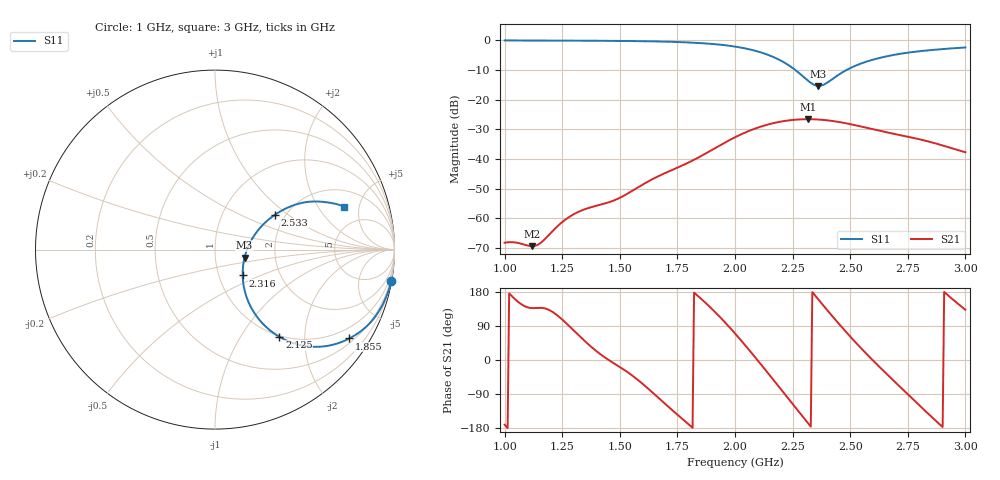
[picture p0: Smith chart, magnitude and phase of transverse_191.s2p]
! TOUCHSTONE file generated by CST MICROWAVE STUDIO
! Date and time: Tue Mar 11 13:57:39 2025
! Project name: transverse.cst
! Parameters = {Fracture=1; B=12.5; D=160; F=5; Feed=2.85625; L=100; M=30; R=0.384908; S=2; Theta=180; length=57.125; wave=114.25}
! Header version: 2024
! Port assignment regex: !\s*Touchstone port\s*([0-9]+)\s*=\s*(CST MWS port|CST DES external port|CST DES block port)\s*(.+)\s* \(\"(.*)\"\)(\s*mode\s*([0-9]+))?.*
! Touchstone port assignment:
! Touchstone port 1 = CST MWS port 1 ("")
! Touchstone port 2 = CST MWS port 2 ("")
# GHz S MA R 50
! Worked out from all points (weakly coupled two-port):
!   305 points, 1 GHz to 3 GHz, reference 50 ohm
!   highest |S21| = -26.59 dB at 2.316 GHz (marker M1); lowest = -69.4 dB at 1.118 GHz (marker M2)
!   lowest |S11| = -15.4 dB at 2.362 GHz (marker M3), VSWR 1.41, Z = 69.4 - j6.32 ohm
!   |S11| at or under -10 dB: 2.262 GHz to 2.484 GHz (221.8 MHz wide, 9.35 % of centre)
!   S12 and S22 are empty: the file has one direction only
!   S11 on the Smith chart (normalised r, x): 1 GHz: 0, -11; 1.855 GHz: 0.63, -3.21; 2.125 GHz: 0.98, -1.50; 2.316 GHz: 1.30, -0.39; 2.533 GHz: 1.77, +0.81; 3 GHz: 3.13, +3.54
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1  0.9977 -10.0  0.0003855 -170.9  0 0.0  0 0.0
1.04605  0.9969 -10.6  0.00039 160.0  0 0.0  0 0.0
1.11842  0.9958 -11.7  0.0003374 137.0  0 0.0  0 0.0
1.15132  0.9952 -12.2  0.0003705 137.7  0 0.0  0 0.0
1.25658  0.9924 -14.0  0.0009017 103.1  0 0.0  0 0.0
1.33553  0.9893 -15.5  0.001357 57.1  0 0.0  0 0.0
1.48684  0.981 -18.9  0.002088 -13.4  0 0.0  0 0.0
1.67105  0.9586 -24.7  0.005196 -101.6  0 0.0  0 0.0
1.85526  0.8976 -33.4  0.01132 160.2  0 0.0  0 0.0
2  0.7871 -43.5  0.0232 70.1  0 0.0  0 0.0
2.06579  0.7023 -48.8  0.03022 23.2  0 0.0  0 0.0
2.125  0.6045 -53.5  0.03638 -20.9  0 0.0  0 0.0
2.22368  0.4016 -58.2  0.0442 -95.9  0 0.0  0 0.0
2.31579  0.2108 -43.1  0.04683 -165.9  0 0.0  0 0.0
2.33553  0.185 -32.8  0.04672 179.3  0 0.0  0 0.0
2.36184  0.1706 -15.0  0.04622 159.7  0 0.0  0 0.0
2.38816  0.1815 2.5  0.04535 140.4  0 0.0  0 0.0
2.44737  0.2595 23.8  0.04226 98.0  0 0.0  0 0.0
2.53289  0.3882 30.2  0.03627 40.3  0 0.0  0 0.0
2.67105  0.5517 28.2  0.02746 -44.3  0 0.0  0 0.0
2.82895  0.6739 23.1  0.0202 -136.2  0 0.0  0 0.0
3  0.7598 18.3  0.01297 132.6  0 0.0  0 0.0
